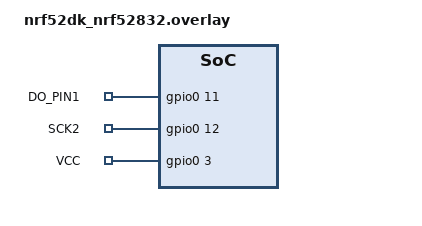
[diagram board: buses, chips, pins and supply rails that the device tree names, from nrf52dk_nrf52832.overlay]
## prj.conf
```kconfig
CONFIG_BT=y
CONFIG_BT_PERIPHERAL=y
CONFIG_BT_DEVICE_NAME="LOAD_CELL"
CONFIG_BT_NUS=y
CONFIG_BT_NUS_LOG_LEVEL_INF=n#y
CONFIG_BT_MAX_CONN=1
CONFIG_BT_L2CAP_TX_BUF_COUNT=5

CONFIG_CLOCK_CONTROL_NRF_K32SRC_RC=y

CONFIG_LOG=n#y
CONFIG_LOG_MODE_DEFERRED=n#y
CONFIG_USE_SEGGER_RTT=n#y
CONFIG_USE_SEGGER_RTT=n#y
CONFIG_RTT_CONSOLE=n#y
CONFIG_LOG_BACKEND_UART=n
CONFIG_ASSERT=n

CONFIG_FLASH=y
CONFIG_FLASH_MAP=y
CONFIG_FLASH_PAGE_LAYOUT=y
CONFIG_NVS=y


CONFIG_SERIAL=n#y
CONFIG_CONSOLE=n
CONFIG_UART_CONSOLE=n
CONFIG_RTT_CONSOLE=n#y

CONFIG_BT_USER_PHY_UPDATE=y

CONFIG_BT_PERIPHERAL_PREF_MIN_INT=1200
CONFIG_BT_PERIPHERAL_PREF_MAX_INT=1200
CONFIG_BT_PERIPHERAL_PREF_LATENCY=0
CONFIG_BT_PERIPHERAL_PREF_TIMEOUT=350
CONFIG_BT_GAP_AUTO_UPDATE_CONN_PARAMS=y

CONFIG_GPIO=y
CONFIG_FPU=y
```

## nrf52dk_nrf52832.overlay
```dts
/ {
    my_pins {
        compatible = "gpio-keys";

        do_pin1: do_pin1 {
            gpios = <&gpio0 11 GPIO_ACTIVE_HIGH>;
            label = "DO_PIN1";
        };

        sck2: sck2 {
            gpios = <&gpio0 12 GPIO_ACTIVE_HIGH>;
            label = "SCK2";
        };

        vcc: vcc {
            gpios = <&gpio0 3 (GPIO_ACTIVE_HIGH | GPIO_PULL_DOWN)>;
            label = "VCC";
        };
    };
};
```

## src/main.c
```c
#include <zephyr/kernel.h>
#include <zephyr/drivers/gpio.h>
#include <zephyr/bluetooth/bluetooth.h>
//#include <zephyr/logging/log.h>
#include <zephyr/bluetooth/conn.h>
#include <zephyr/bluetooth/gap.h>
#include <bluetooth/services/nus.h>
#include <zephyr/drivers/flash.h>
#include <zephyr/fs/nvs.h>
#include <zephyr/storage/flash_map.h>
#include <stdlib.h>

//LOG_MODULE_REGISTER(hx711_ble, LOG_LEVEL_INF);

/* ---------------- THREAD CONFIG ---------------- */
#define STACKSIZE 1024
#define PRIORITY_CALIB 6
#define PRIORITY_SEND  7
#define NOTIFY_INTERVAL 500

/* ---------------- GPIO DT ---------------- */
#define DT_DO  DT_NODELABEL(do_pin1)
#define DT_SCK DT_NODELABEL(sck2)
#define VCC     DT_NODELABEL(vcc)

/* ================= NVS IDs (EEPROM LIKE) ================= */
#define EEPROM_OFFSET_ADDR   1
#define EEPROM_SCALE_ADDR    2
#define EEPROM_FLAG_ADDR     3
#define EEPROM_FLAG_UNIT     4
#define EEPROM_FLAG_LOAD     5

#define CAL_DONE 0x55

/* ---------------- GLOBALS ---------------- */
K_SEM_DEFINE(calib_done_sem, 0, 1);
K_SEM_DEFINE(ble_connected_sem, 0, 1);
K_SEM_DEFINE(load_write, 0, 1);
K_SEM_DEFINE(pause, 0, 1);
K_SEM_DEFINE(start_kload, 0, 1);
K_SEM_DEFINE(start_nload, 0, 1);

static atomic_t connected = ATOMIC_INIT(0);
static atomic_t load_received = ATOMIC_INIT(0);
static atomic_t cali_done = ATOMIC_INIT(0);
static atomic_t deci_pnt = ATOMIC_INIT(3);

int32_t offset = 0;
float scale  = 1.0f;
int32_t set_load = 0;

static struct nvs_fs fs;

#define DEVICE_NAME CONFIG_BT_DEVICE_NAME
#define DEVICE_NAME_LEN (sizeof(DEVICE_NAME) - 1)

struct bt_conn *my_conn = NULL;



static struct bt_le_adv_param *adv_param = BT_LE_ADV_PARAM(
	(BT_LE_ADV_OPT_CONNECTABLE |
	 BT_LE_ADV_OPT_USE_IDENTITY), /* Connectable advertising and use identity address */
	4800,  
	4850,
	NULL);

static const struct bt_data ad[] = {
	BT_DATA_BYTES(BT_DATA_FLAGS, (BT_LE_AD_GENERAL | BT_LE_AD_NO_BREDR)),
	BT_DATA(BT_DATA_NAME_COMPLETE, DEVICE_NAME, DEVICE_NAME_LEN),

};

static const struct gpio_dt_spec dt_pin = GPIO_DT_SPEC_GET(DT_DO, gpios);
static const struct gpio_dt_spec sck_pin = GPIO_DT_SPEC_GET(DT_SCK, gpios);
static const struct gpio_dt_spec vcc_pin = GPIO_DT_SPEC_GET(VCC, gpios);

static void nvs_init(void)
{
    struct flash_pages_info info;

    fs.flash_device = DEVICE_DT_GET(DT_CHOSEN(zephyr_flash_controller));
    fs.offset = FIXED_PARTITION_OFFSET(storage_partition);
    

    flash_get_page_info_by_offs(fs.flash_device, fs.offset, &info);

    fs.sector_size  = info.size;
    fs.sector_count = FIXED_PARTITION_SIZE(storage_partition)/fs.sector_size;

    nvs_mount(&fs);
}

static void update_phy(struct bt_conn *conn)
{
    
    const struct bt_conn_le_phy_param preferred_phy = {
        .options = BT_CONN_LE_PHY_OPT_NONE,
        .pref_rx_phy = BT_GAP_LE_PHY_2M,
        .pref_tx_phy = BT_GAP_LE_PHY_2M,
    };
    bt_conn_le_phy_update(conn, &preferred_phy);
}

int32_t hx711_read_raw(void)
{
    int32_t data = 0;

    /*gpio_pin_set_dt(&vcc_pin, 1);
	k_msleep(100);*/

    while (gpio_pin_get_dt(&dt_pin) == 1) {
        k_busy_wait(10);
    }

    for (int i = 0; i < 24; i++) {
        gpio_pin_set_dt(&sck_pin, 1);
        k_busy_wait(1);

        data <<= 1;

        gpio_pin_set_dt(&sck_pin, 0);
        k_busy_wait(1);

        if (gpio_pin_get_dt(&dt_pin)) {
            data |= 1;
        }
    }

    gpio_pin_set_dt(&sck_pin, 1);
    k_busy_wait(1);
    gpio_pin_set_dt(&sck_pin, 0);

    if (data & 0x800000) {
        data |= 0xFF000000;
    }

                
	/*k_msleep(100);
    gpio_pin_set_dt(&vcc_pin, 0);*/
    return data;
}

int64_t average(int samples)
{
    int64_t sum = 0;
    for (int i = 0; i < samples; i++) {
        sum += hx711_read_raw();
        k_sleep(K_MSEC(10));
    }
    return sum / samples;
}

void offset_value(void)
{
    offset = average(5);
}

void scale_value(int32_t known_weight)
{
    int32_t raw = average(5);
    scale = (raw - offset) / known_weight;
    
}

int32_t final_value(void)
{   
    nvs_read(&fs, EEPROM_OFFSET_ADDR, &offset, sizeof(offset));
    nvs_read(&fs, EEPROM_SCALE_ADDR, &scale, sizeof(scale));
    int32_t raw = average(3);
    return (int32_t)((raw - offset) / scale);

}

bool load_calibration(void)
{
    uint8_t flag;

    if (nvs_read(&fs, EEPROM_FLAG_ADDR, &flag, sizeof(flag)) <= 0)
        return false;

    if (flag != CAL_DONE)
        return false;

    nvs_read(&fs, EEPROM_OFFSET_ADDR, &offset, sizeof(offset));
    nvs_read(&fs, EEPROM_SCALE_ADDR, &scale, sizeof(scale));

    if (scale <= 0)
        return false;

    return true;
}

void unlock_calibration(void)
{
    uint8_t f = 0xFF;
    nvs_write(&fs, EEPROM_FLAG_ADDR, &f, sizeof(f));
}

void save_calibration_once(void)
{
    uint8_t flag = CAL_DONE;

    nvs_write(&fs, EEPROM_OFFSET_ADDR, &offset, sizeof(offset));
    nvs_write(&fs, EEPROM_SCALE_ADDR, &scale, sizeof(scale));
    nvs_write(&fs, EEPROM_FLAG_ADDR, &flag, sizeof(flag));

}

bool calibrate(int32_t known_weight)
{
    int32_t raw = average(3);
    int32_t delta = raw - offset;

    if (abs(delta) < 10000)
    {
        //LOG_ERR("Calibration failed: insufficient delta");
        return false;
    }

    scale = (float)delta / (float)known_weight;
    //LOG_INF("Offset: %d, Scale: %f", offset, scale);
    return true;
}


static void nus_received(struct bt_conn *conn,
                         const uint8_t *const data,
                         uint16_t len)
{
    char buf[16] = {0};

    if (len >= sizeof(buf))
        return;

    memcpy(buf, data, len);

    int val =  buf[0] |
                 (buf[1] << 8) |
                 (buf[2] << 16) |
                 (buf[3] << 24);

    if((val >> 28) == 0){ // Check if the value is negative (assuming it's sent as a signed 32-bit integer)
        if (val >= 100 && val <= 1000) {
        set_load = val;
        nvs_write(&fs, EEPROM_FLAG_LOAD, &set_load, sizeof(set_load));
        k_sem_give(&load_write);
        atomic_set(&cali_done, 0);  
        } 
    }

    else if((val >> 28) == 0x1){
        unlock_calibration();
        k_sem_give(&pause);
        atomic_set(&cali_done, 1);
        atomic_set(&load_received, 0);
        
    }

    else if((val >> 28) == 0x2){
        k_sem_give(&calib_done_sem);
        atomic_set(&load_received, 1);
    }

    else if((val >> 28) == 0x3){
        //LOG_INF("Calibration command received N.");
        k_sem_give(&start_nload);
     }
    else if((val >> 28) == 0x4){
        //LOG_INF("Calibration command received K.");
        k_sem_give(&start_kload);
    }
    else if((val >> 28) == 0x5){
        atomic_set(&deci_pnt, 1);
         //LOG_INF("Calibration command received DEC 1.");
         //k_sem_give(&start_kload);
    }
    else if((val >> 28) == 0x6){
        atomic_set(&deci_pnt, 2);
        //LOG_INF("Calibration command received DEC 2.");
         //k_sem_give(&start_kload);
    }
    else if((val >> 28) == 0x7){
        atomic_set(&deci_pnt, 3);
         //LOG_INF("Calibration command received DEC 3.");
         //k_sem_give(&start_kload);
    }
    else if((val >> 28) == 0x8){
        ;
    }
    
}


void calibration_thread(void)
{
    k_sem_take(&ble_connected_sem, K_FOREVER);

    uint8_t tx_buf[64] = {'Y'};
    while(1){

        if(atomic_get(&cali_done)) {

            gpio_pin_configure_dt(&sck_pin, GPIO_OUTPUT_LOW);

            gpio_pin_set_dt(&vcc_pin, 1);
	        k_msleep(100);

            if (!load_calibration())
            {
                //LOG_INF("Waiting for known load (100-1000g)...");
                    
                k_sem_take(&load_write, K_FOREVER);
                    
                //LOG_INF("Remove weight for tare...");
                k_sleep(K_SECONDS(2));

                k_sem_take(&start_nload,K_FOREVER);

                offset_value();
                    
                //LOG_INF("Apply known load %d g", set_load);
                k_sleep(K_SECONDS(5));
                
                k_sem_take(&start_kload, K_FOREVER);
                //LOG_INF("Calibrating...");

                if (calibrate(set_load)){

                       save_calibration_once();
                       atomic_set(&cali_done, 0);
                       k_sem_give(&calib_done_sem);

                       //LOG_INF("Calibration done!");
                       
                       gpio_pin_set_dt(&sck_pin, 0); 
                       k_msleep(100);
                       gpio_pin_configure_dt(&sck_pin, GPIO_INPUT);
	                   gpio_pin_set_dt(&vcc_pin, 0);
                       bt_nus_send(NULL, tx_buf, strlen(tx_buf));

                   }
                }
            }

            else {
                k_sem_take(&pause, K_FOREVER);
                //LOG_INF("\n");
            }
    }
}
/* ---------------- SEND THREAD ---------------- */

void send_thread(void)
{
    char tx_buf[64];

    k_sem_take(&calib_done_sem, K_FOREVER);

    while (1){

        if(atomic_get(&load_received)){;

            gpio_pin_configure_dt(&sck_pin, GPIO_OUTPUT_LOW);

            gpio_pin_set_dt(&vcc_pin, 1);
            k_msleep(2000);

            nvs_read(&fs, EEPROM_OFFSET_ADDR, &offset, sizeof(offset));
            nvs_read(&fs, EEPROM_SCALE_ADDR, &scale, sizeof(scale));

            int32_t weight = final_value();
            
            switch(atomic_get(&deci_pnt)){
                case 1:
                    snprintf(tx_buf, sizeof(tx_buf),
                    "Weight: %.1f kg\r\n", ((float)weight)/1000.0f);
                    break;
                case 2:
                    snprintf(tx_buf, sizeof(tx_buf),
                    "Weight: %.2f kg\r\n", ((float)weight)/1000.0f);
                    break;
                case 3:
                    snprintf(tx_buf, sizeof(tx_buf),
                    "Weight: %.3f kg\r\n", ((float)weight)/1000.0f);
                    break;
            }
            
            bt_nus_send(NULL, tx_buf, strlen(tx_buf));

            k_sleep(K_MSEC(NOTIFY_INTERVAL)); 
            //LOG_INF("Weight sent: %d g", weight);
            atomic_set(&load_received, 0);

            gpio_pin_set_dt(&sck_pin, 0);
            k_busy_wait(100);
            gpio_pin_configure_dt(&sck_pin, GPIO_INPUT);
	        gpio_pin_set_dt(&vcc_pin, 0);
            
        }else {
            k_sem_take(&calib_done_sem, K_FOREVER);
        }
    }
}


void on_connected(struct bt_conn *conn, uint8_t err)
{
    my_conn = bt_conn_ref(conn);
	atomic_set(&connected, 1);
    k_sem_give(&ble_connected_sem);
	update_phy(my_conn);	
}

static void disconnected_cb(struct bt_conn *conn, uint8_t reason)
{
       if (my_conn) {
        // Release our reference — stack can now free the conn object
        bt_conn_unref(my_conn);
        my_conn = NULL;
    }

    atomic_set(&connected, 0);
}

struct bt_conn_cb connection_callbacks = {
	.connected = on_connected,
	.disconnected = disconnected_cb,
};

int main(void)
{
    int err;

	nvs_init();
	
    err = bt_enable(NULL);
    if (err) {
     
        return -1;
    }

    gpio_pin_configure_dt(&dt_pin, GPIO_INPUT);
    gpio_pin_configure_dt(&sck_pin, GPIO_INPUT);
	gpio_pin_configure_dt(&vcc_pin, GPIO_OUTPUT_LOW);
	//gpio_pin_set_dt(&vcc_pin, 1);
    bt_conn_cb_register(&connection_callbacks);

    bt_le_adv_start(adv_param, ad, ARRAY_SIZE(ad), NULL, 0);

    static struct bt_nus_cb nus_cb = {
        .received = nus_received,
    };

    bt_nus_init(&nus_cb);
    gpio_pin_set_dt(&vcc_pin, 0);
	k_busy_wait(1000);

	/*while (1)
	{
        k_sleep(K_FOREVER);
	}*/

    return -1;
}

K_THREAD_DEFINE(calib_id, STACKSIZE,
                calibration_thread,
                NULL, NULL, NULL,
                PRIORITY_CALIB, 0, 0);

K_THREAD_DEFINE(send_id, STACKSIZE,
                send_thread,
                NULL, NULL, NULL,
                PRIORITY_SEND, 0, 0); 
```
